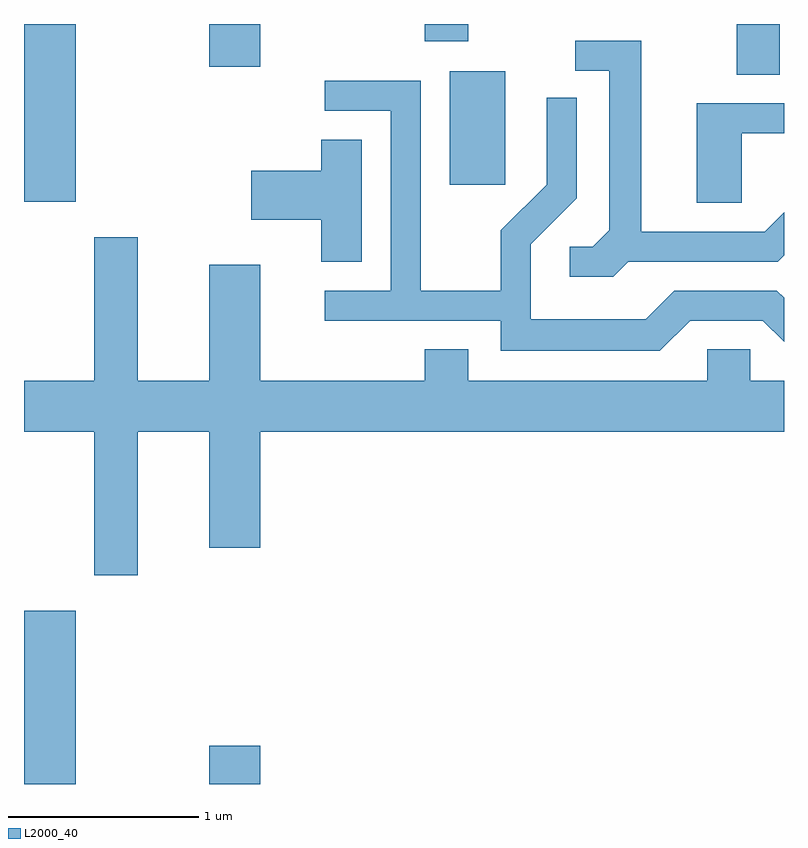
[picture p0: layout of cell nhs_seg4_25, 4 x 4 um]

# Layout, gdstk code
import gdstk
lib = gdstk.Library(unit=1e-6, precision=1e-09)
def R(c, l, rs):  # rectangles x0, y0, x1, y1
    for r in rs: c.add(gdstk.rectangle(r[:2], r[2:], *l))
def P(c, l, *ps):  # polygons
    for p in ps: c.add(gdstk.Polygon(p, *l))
L2000_40 = (2000, 40)

nhs_seg4_25 = lib.new_cell('nhs_seg4_25')
R(nhs_seg4_25, L2000_40, [(185.611,1303.982,185.884,1304.894), (186.586,1303.982,186.854,1304.184), (185.611,1307.046,185.884,1307.982), (187.851,1307.136,188.144,1307.734), (189.361,1307.716,189.589,1307.982), (186.586,1307.756,186.854,1307.982), (187.721,1307.891,187.949,1307.982)])
P(nhs_seg4_25, L2000_40, [(188.792,1306.731),(189.577,1306.731),(189.611,1306.765),(189.611,1306.992),(189.509,1306.889),(188.859,1306.889),(188.859,1307.894),(188.513,1307.894),(188.513,1307.736),(188.691,1307.736),(188.691,1306.897),(188.604,1306.809),(188.483,1306.809),(188.483,1306.651),(188.712,1306.651)],
  [(189.117,1306.421),(189.499,1306.421),(189.611,1306.309),(189.611,1306.54),(189.572,1306.579),(189.034,1306.579),(188.884,1306.429),(188.279,1306.429),(188.279,1306.824),(188.519,1307.064),(188.519,1307.593),(188.361,1307.593),(188.361,1307.137),(188.121,1306.897),(188.121,1306.579),(187.699,1306.579),(187.699,1307.684),(187.193,1307.684),(187.193,1307.526),(187.541,1307.526),(187.541,1306.579),(187.193,1306.579),(187.193,1306.421),(188.121,1306.421),(188.121,1306.261),(188.957,1306.261)],
  [(189.389,1307.406),(189.611,1307.406),(189.611,1307.564),(189.151,1307.564),(189.151,1307.041),(189.389,1307.041)],
  [(187.389,1307.374),(187.176,1307.374),(187.176,1307.209),(186.806,1307.209),(186.806,1306.951),(187.176,1306.951),(187.176,1306.731),(187.389,1306.731)],
  [(186.209,1305.836),(186.586,1305.836),(186.586,1305.226),(186.854,1305.226),(186.854,1305.836),(189.611,1305.836),(189.611,1306.104),(189.434,1306.104),(189.434,1306.269),(189.206,1306.269),(189.206,1306.104),(187.949,1306.104),(187.949,1306.269),(187.721,1306.269),(187.721,1306.104),(186.854,1306.104),(186.854,1306.714),(186.586,1306.714),(186.586,1306.104),(186.209,1306.104),(186.209,1306.859),(185.981,1306.859),(185.981,1306.104),(185.611,1306.104),(185.611,1305.836),(185.981,1305.836),(185.981,1305.081),(186.209,1305.081)])

lib.write_gds('nhs_seg4_25.gds')
